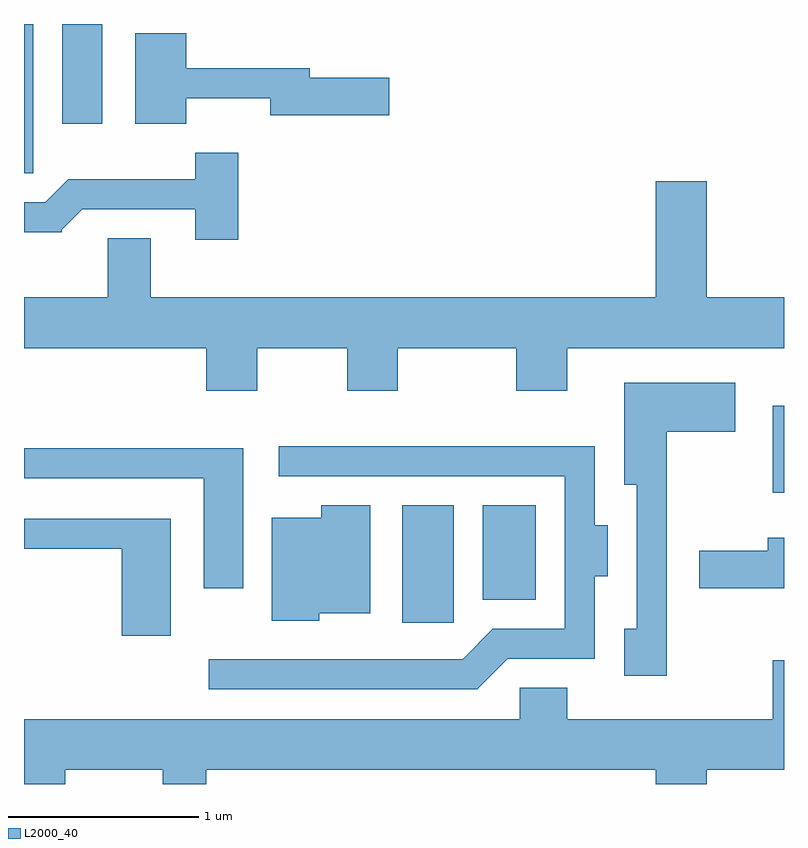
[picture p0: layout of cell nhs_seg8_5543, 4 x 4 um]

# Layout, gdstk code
import gdstk
lib = gdstk.Library(unit=1e-6, precision=1e-09)
def R(c, l, rs):  # rectangles x0, y0, x1, y1
    for r in rs: c.add(gdstk.rectangle(r[:2], r[2:], *l))
def P(c, l, *ps):  # polygons
    for p in ps: c.add(gdstk.Polygon(p, *l))
L2000_40 = (2000, 40)

nhs_seg8_5543 = lib.new_cell('nhs_seg8_5543')
R(nhs_seg8_5543, L2000_40, [(353.601,1837.191,353.874,1837.809), (354.026,1837.311,354.304,1837.809), (355.551,1837.876,355.611,1838.334), (351.611,1839.556,351.659,1840.342), (351.811,1839.816,352.024,1840.342)])
P(nhs_seg8_5543, L2000_40, [(352.464,1839.951),(352.906,1839.951),(352.906,1839.861),(353.534,1839.861),(353.534,1840.059),(353.114,1840.059),(353.114,1840.109),(352.464,1840.109),(352.464,1840.294),(352.196,1840.294),(352.196,1839.816),(352.464,1839.816)],
  [(352.739,1839.664),(352.511,1839.664),(352.511,1839.524),(351.844,1839.524),(351.724,1839.404),(351.611,1839.404),(351.611,1839.246),(351.81,1839.246),(351.81,1839.26),(351.917,1839.366),(352.511,1839.366),(352.511,1839.206),(352.739,1839.206)],
  [(352.839,1838.636),(353.311,1838.636),(353.311,1838.411),(353.579,1838.411),(353.579,1838.636),(354.201,1838.636),(354.201,1838.411),(354.469,1838.411),(354.469,1838.636),(355.611,1838.636),(355.611,1838.904),(355.204,1838.904),(355.204,1839.514),(354.936,1839.514),(354.936,1838.904),(352.279,1838.904),(352.279,1839.214),(352.051,1839.214),(352.051,1838.904),(351.611,1838.904),(351.611,1838.636),(352.571,1838.636),(352.571,1838.411),(352.839,1838.411)],
  [(354.994,1838.196),(355.354,1838.196),(355.354,1838.454),(354.771,1838.454),(354.771,1837.916),(354.836,1837.916),(354.836,1837.159),(354.771,1837.159),(354.771,1836.911),(354.994,1836.911)],
  [(354.157,1837.001),(354.614,1837.001),(354.614,1837.436),(354.684,1837.436),(354.684,1837.704),(354.614,1837.704),(354.614,1838.119),(352.953,1838.119),(352.953,1837.961),(354.456,1837.961),(354.456,1837.159),(354.079,1837.159),(353.919,1836.999),(352.583,1836.999),(352.583,1836.841),(353.997,1836.841)],
  [(352.764,1838.109),(351.611,1838.109),(351.611,1837.951),(352.556,1837.951),(352.556,1837.371),(352.764,1837.371)],
  [(353.164,1837.241),(353.434,1837.241),(353.434,1837.809),(353.176,1837.809),(353.176,1837.744),(352.916,1837.744),(352.916,1837.201),(353.164,1837.201)],
  [(352.384,1837.739),(351.611,1837.739),(351.611,1837.581),(352.126,1837.581),(352.126,1837.121),(352.384,1837.121)],
  [(355.611,1837.639),(355.526,1837.639),(355.526,1837.569),(355.166,1837.569),(355.166,1837.371),(355.611,1837.371)],
  [(351.829,1836.416),(352.341,1836.416),(352.341,1836.342),(352.569,1836.342),(352.569,1836.416),(354.936,1836.416),(354.936,1836.342),(355.204,1836.342),(355.204,1836.416),(355.611,1836.416),(355.611,1836.994),(355.551,1836.994),(355.551,1836.684),(354.469,1836.684),(354.469,1836.849),(354.221,1836.849),(354.221,1836.684),(351.611,1836.684),(351.611,1836.342),(351.829,1836.342)])

lib.write_gds('nhs_seg8_5543.gds')
